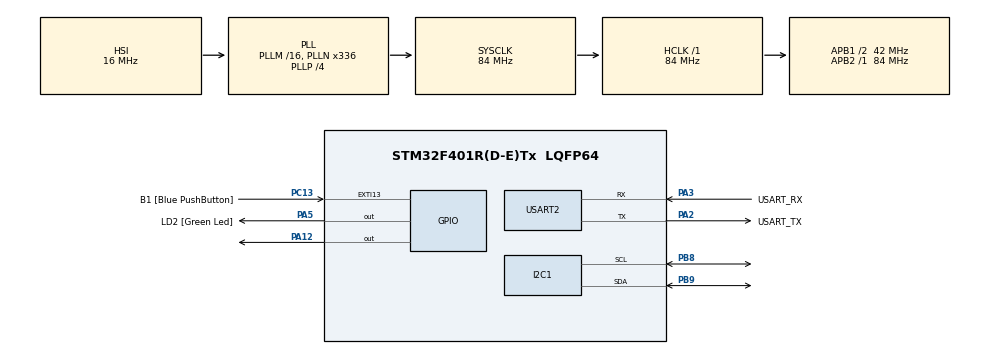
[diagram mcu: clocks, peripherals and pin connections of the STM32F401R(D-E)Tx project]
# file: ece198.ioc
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Mcu.Family=STM32F4
Mcu.Name=STM32F401R(D-E)Tx
Mcu.Package=LQFP64
NVIC.PriorityGroup=NVIC_PRIORITYGROUP_0
PA12.Signal=GPIO_Output
PA13.GPIO_Label=TMS
PA13.Mode=Serial_Wire
PA13.Signal=SYS_JTMS-SWDIO
PA14.GPIO_Label=TCK
PA14.Mode=Serial_Wire
PA14.Signal=SYS_JTCK-SWCLK
PA2.GPIO_Label=USART_TX
PA2.GPIO_Mode=GPIO_MODE_AF_PP
PA2.GPIO_PuPd=GPIO_NOPULL
PA2.GPIO_Speed=GPIO_SPEED_FREQ_LOW
PA2.Mode=Asynchronous
PA2.Signal=USART2_TX
PA3.GPIO_Label=USART_RX
PA3.GPIO_Mode=GPIO_MODE_AF_PP
PA3.GPIO_PuPd=GPIO_NOPULL
PA3.GPIO_Speed=GPIO_SPEED_FREQ_LOW
PA3.Mode=Asynchronous
PA3.Signal=USART2_RX
PA5.GPIO_Label=LD2 [Green Led]
PA5.GPIO_Mode=GPIO_MODE_OUTPUT_PP
PA5.GPIO_PuPd=GPIO_NOPULL
PA5.GPIO_Speed=GPIO_SPEED_FREQ_LOW
PA5.Signal=GPIO_Output
PB8.Mode=I2C
PB8.Signal=I2C1_SCL
PB9.Mode=I2C
PB9.Signal=I2C1_SDA
PC13-ANTI_TAMP.GPIO_Label=B1 [Blue PushButton]
PC13-ANTI_TAMP.GPIO_ModeDefaultEXTI=GPIO_MODE_IT_FALLING
PC13-ANTI_TAMP.GPIO_PuPd=GPIO_NOPULL
PC13-ANTI_TAMP.Signal=GPXTI13
PC14-OSC32_IN.Mode=LSE-External-Oscillator
PC14-OSC32_IN.Signal=RCC_OSC32_IN
PC15-OSC32_OUT.Mode=LSE-External-Oscillator
PC15-OSC32_OUT.Signal=RCC_OSC32_OUT
PH0\ -\ OSC_IN.Mode=HSE-External-Oscillator
PH0\ -\ OSC_IN.Signal=RCC_OSC_IN
PH1\ -\ OSC_OUT.Mode=HSE-External-Oscillator
PH1\ -\ OSC_OUT.Signal=RCC_OSC_OUT
ProjectManager.HeapSize=0x200
ProjectManager.StackSize=0x400
ProjectManager.TargetToolchain=STM32CubeIDE
RCC.48MHZClocksFreq_Value=48000000
RCC.AHBFreq_Value=84000000
RCC.APB1CLKDivider=RCC_HCLK_DIV2
RCC.APB1Freq_Value=42000000
RCC.APB1TimFreq_Value=84000000
RCC.APB2Freq_Value=84000000
RCC.APB2TimFreq_Value=84000000
RCC.CortexFreq_Value=84000000
RCC.HCLKFreq_Value=84000000
RCC.HSE_VALUE=8000000
RCC.HSI_VALUE=16000000
RCC.PLLN=336
RCC.PLLP=RCC_PLLP_DIV4
RCC.PLLQ=7
RCC.SYSCLKFreq_VALUE=84000000
RCC.SYSCLKSource=RCC_SYSCLKSOURCE_PLLCLK
RCC.VCOOutputFreq_Value=336000000
USART2.VirtualMode=VM_ASYNC
board=NUCLEO-F401RE

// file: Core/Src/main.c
/* USER CODE BEGIN Header */
/**
 ******************************************************************************
 * @file           : main.c
 * @brief          : Main program body
 ******************************************************************************
 * @attention
 *
 * Copyright (c) 2023 STMicroelectronics.
 * All rights reserved.
 *
 * This software is licensed under terms that can be found in the LICENSE file
 * in the root directory of this software component.
 * If no LICENSE file comes with this software, it is provided AS-IS.
 *
 ******************************************************************************
 */
/* USER CODE END Header */
#include "main.h"

/* USER CODE BEGIN Includes */
#include "stm32f4xx_hal.h"

/* USER CODE END Includes */

I2C_HandleTypeDef hi2c1;

UART_HandleTypeDef huart2;

/* USER CODE BEGIN PV */

#define adxl_address 0x53 << 1

#define scale_factor (1.0 / (1 << 13)) // because the sensor is in plus/minus 4g mode, it needs this scale factor
#define gravity_constant 9.81

#define x_threshold (-5.0)
#define y_threshold (7.0)
#define z_threshold (0.2)

/* USER CODE END PV */

void SystemClock_Config(void);
static void MX_GPIO_Init(void);
static void MX_USART2_UART_Init(void);
static void MX_I2C1_Init(void);
/* USER CODE BEGIN PFP */

// credits to ControllersTech on YouTube for their guideline on coding and reading the accelerometer values https://www.youtube.com/watch?v=1-Fb9RjbGUA&t=747s&ab_channel=ControllersTech

uint8_t data_rec[6]; // send 6 bytes of data

uint16_t x, y, z;
float xg, yg, zg;
float z_mps2;
float x_mps2;
float y_mps2;

void adxl_write(uint8_t reg, uint8_t value)
{
  uint8_t data[2];
  data[0] = reg;
  data[1] = value;
  HAL_I2C_Master_Transmit(&hi2c1, adxl_address, data, 2, 10);
}

// read function

void adxl_read(uint8_t reg, uint8_t numberofbytes)
{
  HAL_I2C_Mem_Read(&hi2c1, adxl_address, reg, 1, data_rec, numberofbytes, 100);
}

void adxl_init(void)
{
  adxl_read(0x00, 1);

  adxl_write(0x2d, 0);    // reset all bits
  adxl_write(0x2d, 0x08); // measure bit-1, wakeup 0, 0 at 8hz

  adxl_write(0x31, 0x01); // +- 4g range
}

// function for playing alert
//  uses a square wave to generate audio - turns the pin on and off
//  credits to Simon Hutchinson on YouTube for the logic of producing audio https://www.youtube.com/watch?v=iOXTXut00yo&ab_channel=SimonHutchinson
void speaker_alert(void)
{

  for (int j = 0; j < 5; j++)
  {
    for (int i = 0; i < 75; i++)
    {

      HAL_GPIO_WritePin(GPIOA, GPIO_PIN_12, GPIO_PIN_SET); // powers the pin
      HAL_Delay(1);
      HAL_GPIO_WritePin(GPIOA, GPIO_PIN_12, GPIO_PIN_RESET); // sends less power to pin
      HAL_Delay(1);
    }

    HAL_Delay(200);
  }
}

// read accelrometer values and calculate the change in acceleration
void read()
{
  adxl_read(0x32, 6);

  x = (data_rec[1] << 8) | data_rec[0];
  y = (data_rec[3] << 8) | data_rec[2];
  z = (data_rec[5] << 8) | data_rec[4];

  // these variables are the g values. 1g = 9.81, etc
  xg = x * scale_factor;
  yg = y * scale_factor;
  zg = z * scale_factor;

  // these variables are then converted to meters per second squared

  x_mps2 = xg * gravity_constant;
  y_mps2 = yg * gravity_constant;
  z_mps2 = zg * gravity_constant;
}

/* USER CODE END PFP */

int main(void)
{

  /* MCU Configuration--------------------------------------------------------*/

  /* Reset of all peripherals, Initializes the Flash interface and the Systick. */
  HAL_Init();

  /* Configure the system clock */
  SystemClock_Config();

  /* Initialize all configured peripherals */
  MX_GPIO_Init();
  MX_USART2_UART_Init();
  MX_I2C1_Init();
  /* USER CODE BEGIN 2 */

  // Initialize GPIO pin for the speaker
  adxl_init();

  // initialize threshold values for accelerometer
  //  uint16_t x_thres;
  //  uint16_t y_thres;
  //  uint16_t z_thres;

  /* USER CODE END 2 */

  /* Infinite loop */
  while (1)
  {

    /* USER CODE BEGIN 3 */
    // read accelrometer values and calculate the change in acceleration
    read();

    if (z_mps2 > z_threshold)
    {
      HAL_GPIO_TogglePin(GPIOA, GPIO_PIN_5);
      HAL_Delay(1000);

      int moving = 0; // 1 is moving, 0 is unmoving
      // check if person crosses threshold again, if so then don't alert
      for (int i = 0; i < 2000; i++)
      {
        read();

        if (z_mps2 > z_threshold)
        {
          moving = 1;
        }
      }
      // if patient is still not moving after a period of time then alert
      if (moving == 0)
      {
        speaker_alert();
      }

      HAL_GPIO_TogglePin(GPIOA, GPIO_PIN_5);
    }
    HAL_Delay(200);
  }
  /* USER CODE END 3 */
}

void SystemClock_Config(void)
{
  RCC_OscInitTypeDef RCC_OscInitStruct = {0};
  RCC_ClkInitTypeDef RCC_ClkInitStruct = {0};

  /** Configure the main internal regulator output voltage
   */
  __HAL_RCC_PWR_CLK_ENABLE();
  __HAL_PWR_VOLTAGESCALING_CONFIG(PWR_REGULATOR_VOLTAGE_SCALE2);

  /** Initializes the RCC Oscillators according to the specified parameters
   * in the RCC_OscInitTypeDef structure.
   */
  RCC_OscInitStruct.OscillatorType = RCC_OSCILLATORTYPE_HSI;
  RCC_OscInitStruct.HSIState = RCC_HSI_ON;
  RCC_OscInitStruct.HSICalibrationValue = RCC_HSICALIBRATION_DEFAULT;
  RCC_OscInitStruct.PLL.PLLState = RCC_PLL_ON;
  RCC_OscInitStruct.PLL.PLLSource = RCC_PLLSOURCE_HSI;
  RCC_OscInitStruct.PLL.PLLM = 16;
  RCC_OscInitStruct.PLL.PLLN = 336;
  RCC_OscInitStruct.PLL.PLLP = RCC_PLLP_DIV4;
  RCC_OscInitStruct.PLL.PLLQ = 7;
  if (HAL_RCC_OscConfig(&RCC_OscInitStruct) != HAL_OK)
  {
    Error_Handler();
  }

  /** Initializes the CPU, AHB and APB buses clocks
   */
  RCC_ClkInitStruct.ClockType = RCC_CLOCKTYPE_HCLK | RCC_CLOCKTYPE_SYSCLK | RCC_CLOCKTYPE_PCLK1 | RCC_CLOCKTYPE_PCLK2;
  RCC_ClkInitStruct.SYSCLKSource = RCC_SYSCLKSOURCE_PLLCLK;
  RCC_ClkInitStruct.AHBCLKDivider = RCC_SYSCLK_DIV1;
  RCC_ClkInitStruct.APB1CLKDivider = RCC_HCLK_DIV2;
  RCC_ClkInitStruct.APB2CLKDivider = RCC_HCLK_DIV1;

  if (HAL_RCC_ClockConfig(&RCC_ClkInitStruct, FLASH_LATENCY_2) != HAL_OK)
  {
    Error_Handler();
  }
}

static void MX_I2C1_Init(void)
{

  hi2c1.Instance = I2C1;
  hi2c1.Init.ClockSpeed = 100000;
  hi2c1.Init.DutyCycle = I2C_DUTYCYCLE_2;
  hi2c1.Init.OwnAddress1 = 0;
  hi2c1.Init.AddressingMode = I2C_ADDRESSINGMODE_7BIT;
  hi2c1.Init.DualAddressMode = I2C_DUALADDRESS_DISABLE;
  hi2c1.Init.OwnAddress2 = 0;
  hi2c1.Init.GeneralCallMode = I2C_GENERALCALL_DISABLE;
  hi2c1.Init.NoStretchMode = I2C_NOSTRETCH_DISABLE;
  if (HAL_I2C_Init(&hi2c1) != HAL_OK)
  {
    Error_Handler();
  }
}

static void MX_USART2_UART_Init(void)
{

  huart2.Instance = USART2;
  huart2.Init.BaudRate = 115200;
  huart2.Init.WordLength = UART_WORDLENGTH_8B;
  huart2.Init.StopBits = UART_STOPBITS_1;
  huart2.Init.Parity = UART_PARITY_NONE;
  huart2.Init.Mode = UART_MODE_TX_RX;
  huart2.Init.HwFlowCtl = UART_HWCONTROL_NONE;
  huart2.Init.OverSampling = UART_OVERSAMPLING_16;
  if (HAL_UART_Init(&huart2) != HAL_OK)
  {
    Error_Handler();
  }
}

static void MX_GPIO_Init(void)
{
  GPIO_InitTypeDef GPIO_InitStruct = {0};

  /* GPIO Ports Clock Enable */
  __HAL_RCC_GPIOC_CLK_ENABLE();
  __HAL_RCC_GPIOH_CLK_ENABLE();
  __HAL_RCC_GPIOA_CLK_ENABLE();
  __HAL_RCC_GPIOB_CLK_ENABLE();

  /*Configure GPIO pin Output Level */
  HAL_GPIO_WritePin(GPIOA, LD2_Pin | GPIO_PIN_12, GPIO_PIN_RESET);

  /*Configure GPIO pin : B1_Pin */
  GPIO_InitStruct.Pin = B1_Pin;
  GPIO_InitStruct.Mode = GPIO_MODE_IT_FALLING;
  GPIO_InitStruct.Pull = GPIO_NOPULL;
  HAL_GPIO_Init(B1_GPIO_Port, &GPIO_InitStruct);

  /*Configure GPIO pins : LD2_Pin PA12 */
  GPIO_InitStruct.Pin = LD2_Pin | GPIO_PIN_12;
  GPIO_InitStruct.Mode = GPIO_MODE_OUTPUT_PP;
  GPIO_InitStruct.Pull = GPIO_NOPULL;
  GPIO_InitStruct.Speed = GPIO_SPEED_FREQ_LOW;
  HAL_GPIO_Init(GPIOA, &GPIO_InitStruct);

}

void Error_Handler(void)
{
  __disable_irq();
  while (1)
  {
  }
}
